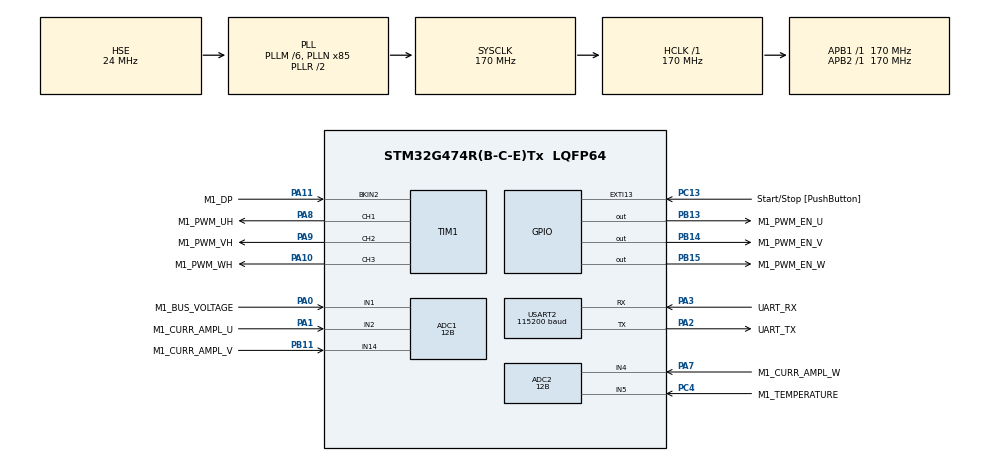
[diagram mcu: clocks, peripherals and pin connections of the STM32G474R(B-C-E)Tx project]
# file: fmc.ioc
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ADC1.Channel-1\#ChannelRegularConversion=ADC_CHANNEL_1
ADC1.ClockPrescaler=ADC_CLOCK_ASYNC_DIV1
ADC1.ContinuousConvMode=DISABLE
ADC1.DMAContinuousRequests=DISABLE
ADC1.DataAlign=ADC_DATAALIGN_LEFT
ADC1.DiscontinuousConvMode=DISABLE
ADC1.EOCSelection=ADC_EOC_SINGLE_CONV
ADC1.EnableAnalogWatchDog1=false
ADC1.EnableAnalogWatchDog2=false
ADC1.EnableAnalogWatchDog3=false
ADC1.EnableInjectedConversion=ENABLE
ADC1.EnableRegularConversion=ENABLE
ADC1.ExternalTrigConv=ADC_SOFTWARE_START
ADC1.ExternalTrigConvEdge=ADC_EXTERNALTRIGCONVEDGE_NONE
ADC1.ExternalTrigInjecConv=ADC_EXTERNALTRIGINJEC_T1_TRGO
ADC1.ExternalTrigInjecConvEdge=ADC_EXTERNALTRIGINJECCONV_EDGE_RISING
ADC1.InjNumberOfConversion=2
ADC1.InjectedChannel-1\#ChannelInjectedConversion=ADC_CHANNEL_2
ADC1.InjectedChannel-2\#ChannelInjectedConversion=ADC_CHANNEL_14
ADC1.InjectedConvMode=None
ADC1.InjectedOffset-1\#ChannelInjectedConversion=0
ADC1.InjectedOffset-2\#ChannelInjectedConversion=0
ADC1.InjectedOffsetNumber-1\#ChannelInjectedConversion=ADC_OFFSET_NONE
ADC1.InjectedOffsetNumber-2\#ChannelInjectedConversion=ADC_OFFSET_NONE
ADC1.InjectedRank-1\#ChannelInjectedConversion=1
ADC1.InjectedRank-2\#ChannelInjectedConversion=2
ADC1.InjectedSamplingTime-1\#ChannelInjectedConversion=ADC_SAMPLETIME_6CYCLES_5
ADC1.InjectedSamplingTime-2\#ChannelInjectedConversion=ADC_SAMPLETIME_6CYCLES_5
ADC1.LowPowerAutoWait=DISABLE
ADC1.NbrOfConversion=1
ADC1.NbrOfConversionFlag=1
ADC1.Offset-1\#ChannelRegularConversion=0
ADC1.OffsetNumber-1\#ChannelRegularConversion=ADC_OFFSET_NONE
ADC1.Overrun=ADC_OVR_DATA_PRESERVED
ADC1.Rank-1\#ChannelRegularConversion=1
ADC1.Resolution=ADC_RESOLUTION_12B
ADC1.SamplingTime-1\#ChannelRegularConversion=ADC_SAMPLETIME_47CYCLES_5
ADC1.ScanConvMode=ADC_SCAN_ENABLE
ADC1.master=1
ADC2.Channel-1\#ChannelRegularConversion=ADC_CHANNEL_5
ADC2.ClockPrescaler=ADC_CLOCK_ASYNC_DIV1
ADC2.ContinuousConvMode=DISABLE
ADC2.DMAContinuousRequests=DISABLE
ADC2.DataAlign=ADC_DATAALIGN_LEFT
ADC2.DiscontinuousConvMode=DISABLE
ADC2.EOCSelection=ADC_EOC_SINGLE_CONV
ADC2.EnableAnalogWatchDog1=false
ADC2.EnableAnalogWatchDog2=false
ADC2.EnableAnalogWatchDog3=false
ADC2.EnableInjectedConversion=ENABLE
ADC2.EnableRegularConversion=ENABLE
ADC2.ExternalTrigConv=ADC_SOFTWARE_START
ADC2.ExternalTrigConvEdge=ADC_EXTERNALTRIGCONVEDGE_NONE
ADC2.ExternalTrigInjecConv=ADC_EXTERNALTRIGINJEC_T1_TRGO
ADC2.ExternalTrigInjecConvEdge=ADC_EXTERNALTRIGINJECCONV_EDGE_RISING
ADC2.InjNumberOfConversion=2
ADC2.InjectedChannel-1\#ChannelInjectedConversion=ADC_CHANNEL_14
ADC2.InjectedChannel-2\#ChannelInjectedConversion=ADC_CHANNEL_4
ADC2.InjectedConvMode=None
ADC2.InjectedOffset-1\#ChannelInjectedConversion=0
ADC2.InjectedOffset-2\#ChannelInjectedConversion=0
ADC2.InjectedOffsetNumber-1\#ChannelInjectedConversion=ADC_OFFSET_NONE
ADC2.InjectedOffsetNumber-2\#ChannelInjectedConversion=ADC_OFFSET_NONE
ADC2.InjectedRank-1\#ChannelInjectedConversion=1
ADC2.InjectedRank-2\#ChannelInjectedConversion=2
ADC2.InjectedSamplingTime-1\#ChannelInjectedConversion=ADC_SAMPLETIME_6CYCLES_5
ADC2.InjectedSamplingTime-2\#ChannelInjectedConversion=ADC_SAMPLETIME_6CYCLES_5
ADC2.LowPowerAutoWait=DISABLE
ADC2.NbrOfConversion=1
ADC2.NbrOfConversionFlag=1
ADC2.Offset-1\#ChannelRegularConversion=0
ADC2.OffsetNumber-1\#ChannelRegularConversion=ADC_OFFSET_NONE
ADC2.Overrun=ADC_OVR_DATA_PRESERVED
ADC2.Rank-1\#ChannelRegularConversion=1
ADC2.Resolution=ADC_RESOLUTION_12B
ADC2.SamplingTime-1\#ChannelRegularConversion=ADC_SAMPLETIME_47CYCLES_5
ADC2.ScanConvMode=ADC_SCAN_ENABLE
ADC2.master=1
Dma.Request0=USART2_RX
Dma.Request1=USART2_TX
Dma.USART2_RX.0.Direction=DMA_PERIPH_TO_MEMORY
Dma.USART2_RX.0.EventEnable=DISABLE
Dma.USART2_RX.0.Instance=DMA1_Channel1
Dma.USART2_RX.0.MemDataAlignment=DMA_MDATAALIGN_BYTE
Dma.USART2_RX.0.MemInc=DMA_MINC_ENABLE
Dma.USART2_RX.0.Mode=DMA_NORMAL
Dma.USART2_RX.0.PeriphDataAlignment=DMA_PDATAALIGN_BYTE
Dma.USART2_RX.0.PeriphInc=DMA_PINC_DISABLE
Dma.USART2_RX.0.Polarity=HAL_DMAMUX_REQ_GEN_RISING
Dma.USART2_RX.0.Priority=DMA_PRIORITY_LOW
Dma.USART2_RX.0.RequestNumber=1
Dma.USART2_RX.0.SignalID=NONE
Dma.USART2_RX.0.SyncEnable=DISABLE
Dma.USART2_RX.0.SyncPolarity=HAL_DMAMUX_SYNC_NO_EVENT
Dma.USART2_RX.0.SyncRequestNumber=1
Dma.USART2_RX.0.SyncSignalID=NONE
Dma.USART2_TX.1.Direction=DMA_MEMORY_TO_PERIPH
Dma.USART2_TX.1.EventEnable=DISABLE
Dma.USART2_TX.1.Instance=DMA1_Channel2
Dma.USART2_TX.1.MemDataAlignment=DMA_MDATAALIGN_BYTE
Dma.USART2_TX.1.MemInc=DMA_MINC_ENABLE
Dma.USART2_TX.1.Mode=DMA_NORMAL
Dma.USART2_TX.1.PeriphDataAlignment=DMA_PDATAALIGN_BYTE
Dma.USART2_TX.1.PeriphInc=DMA_PINC_DISABLE
Dma.USART2_TX.1.Polarity=HAL_DMAMUX_REQ_GEN_RISING
Dma.USART2_TX.1.Priority=DMA_PRIORITY_LOW
Dma.USART2_TX.1.RequestNumber=1
Dma.USART2_TX.1.SignalID=NONE
Dma.USART2_TX.1.SyncEnable=DISABLE
Dma.USART2_TX.1.SyncPolarity=HAL_DMAMUX_SYNC_NO_EVENT
Dma.USART2_TX.1.SyncRequestNumber=1
Dma.USART2_TX.1.SyncSignalID=NONE
ExtraMW=MotorControl
ExtraMW.MotorControl.Config=MotorControl
ExtraMW.MotorControl.Mode=MotorControl
ExtraMW.MotorControl.Root=MCSDK_v6.4.1-Full/MotorControl
ExtraMW.MotorControl.Template=templates
Mcu.Family=STM32G4
Mcu.Name=STM32G474R(B-C-E)Tx
Mcu.Package=LQFP64
MotorControl.ADC_1_PERIPH=ADC1
MotorControl.ADC_2_PERIPH=ADC2
MotorControl.ADC_AHBPERIPH=RCC_AHBPeriph_ADC12
MotorControl.ADC_CLOCK_WB_DIV=1
MotorControl.ADC_PERIPH=ADC1
MotorControl.ADC_REFERENCE_VOLTAGE=3.3
MotorControl.BOARD=NUCLEO-G474RE
MotorControl.BUS_VOLTAGE_READING=true
MotorControl.CCMRAM_ENABLED=false
MotorControl.CLOCK_FREQUENCY=CPU_CLK_170_MHZ
MotorControl.CLOCK_SOURCE=EXTERNAL
MotorControl.CPU_CLK_170_MHZ=true
MotorControl.CTLBOARD_NAME=NUCLEO-G474RE
MotorControl.CUBE_MX_VER=6.16.1
MotorControl.CURRENT_READING_TOPOLOGY=THREE_SHUNT_INDEPENDENT_RESOURCES
MotorControl.CURR_SAMPLING_TIME=6
MotorControl.DBG_MCU_LOAD_MEASURE=false
MotorControl.DEBUG_DAC_FUNCTIONALITY_EN=false
MotorControl.DP_EMERGENCY_STOP_GPIO_PIN=LL_GPIO_PIN_11
MotorControl.DP_EMERGENCY_STOP_GPIO_PORT=GPIOA
MotorControl.DRIVES_NUMBER_SELECTION=SINGLEDRIVE
MotorControl.DRIVE_NUMBER=1
MotorControl.DRIVE_TYPE=FOC
MotorControl.ENCODER_AVAILABLE=false
MotorControl.ENCODER_PPR=400
MotorControl.EXT_CLK_24_MHZ=true
MotorControl.EXT_CLOCK_FREQUENCY=EXT_CLK_24_MHZ
MotorControl.FEEDBACK_NET_FILTERING=false
MotorControl.FLASH_SIZE=512
MotorControl.HALL_SENSORS_AVAILABLE=false
MotorControl.HIGH_SIDE_IDLE_STATE=false
MotorControl.HWV_CS=ThreeShunt_AmplifiedCurrents
MotorControl.HWV_DP=SingleErrorTrigger_FixedReference
MotorControl.HWV_PWM=DrivingHighSidesAndThreeEnables
MotorControl.HW_COMPLEMENTED_LOW_SIDE=true
MotorControl.HW_DEAD_TIME_NS=550
MotorControl.IPs=CORDIC,SYS,NVIC,RCC,MotorControl,TIM1,ADC1,ADC2,USART2,DMA
MotorControl.LOW_MEMORY_FOOTPRINT_REG=false
MotorControl.LOW_SIDE_IDLE_STATE=false
MotorControl.LOW_SIDE_SIGNALS_ENABLING=ES_GPIO
MotorControl.M1_AMPLIFICATION_GAIN=1.53
MotorControl.M1_ANGC={0,0,0,0,0,0,0,0}
MotorControl.M1_AUXILIARY_SPEED_SENSOR=NONE
MotorControl.M1_BEMF_CONSISTENCY_GAIN=64
MotorControl.M1_BEMF_CONSISTENCY_TOL=64
MotorControl.M1_BOARD_MAX_CURRENT=0.8
MotorControl.M1_BUS_VOLTAGE_READING=true
MotorControl.M1_COMMUTATION_STEP_TIME_BUF_SIZE=12
MotorControl.M1_CONSTANT1_D=108040
MotorControl.M1_CONSTANT1_Q=108040
MotorControl.M1_CONSTANT2_QD=21559
MotorControl.M1_CS_ADC_NUM=2
MotorControl.M1_CS_ADC_PHASE_SHARED=V
MotorControl.M1_CS_ADC_U=ADC1
MotorControl.M1_CS_ADC_W=ADC2
MotorControl.M1_CS_CHANNEL_SHARED=14
MotorControl.M1_CS_CHANNEL_U=2
MotorControl.M1_CS_CHANNEL_V=14
MotorControl.M1_CS_CHANNEL_W=4
MotorControl.M1_CURRENT_AMPLIFICATION_TOPO=EXTERNAL
MotorControl.M1_CURRENT_SENSING_TOPO=THREE_SHUNT
MotorControl.M1_CURR_SAMPLING_TIME=6
MotorControl.M1_DBG_OPEN_LOOP_ENABLE=false
MotorControl.M1_DC_CURRENT_RS_MEAS=0.8
MotorControl.M1_DEFAULT_CONTROL_MODE=STC_SPEED_MODE
MotorControl.M1_DEFAULT_FLUX_COMPONENT=0
MotorControl.M1_DEFAULT_TARGET_SPEED_RPM=566
MotorControl.M1_DEFAULT_TORQUE_COMPONENT=0
MotorControl.M1_DISCONTINUOUS_PWM=false
MotorControl.M1_DP_BKIN_FILTER=3
MotorControl.M1_DP_BKIN_MODE=EXT_MODE
MotorControl.M1_DP_BKIN_POLARITY=EMSTOP_ACTIVE_LOW
MotorControl.M1_DP_DESTINATION=TIM_BKIN2
MotorControl.M1_DP_TOPOLOGY=EXTERNAL
MotorControl.M1_DRIVE_TYPE=FOC
MotorControl.M1_ENABLE_SL_ALGO_FROM_PHASE=2
MotorControl.M1_ENCODER_PPR=400
MotorControl.M1_F1=16384
MotorControl.M1_F2=4096
MotorControl.M1_FEED_FORWARD_CURRENT_REG_ENABLING=false
MotorControl.M1_FLUX_WEAKENING_ENABLING=false
MotorControl.M1_FW_KIDIV=32768
MotorControl.M1_FW_KI_GAIN=5000
MotorControl.M1_FW_KPDIV=32768
MotorControl.M1_FW_KP_GAIN=3000
MotorControl.M1_FW_VOLTAGE_REF=985
MotorControl.M1_GAIN1=-20736
MotorControl.M1_GAIN2=17622
MotorControl.M1_HALL_PHASE_SHIFT=300
MotorControl.M1_HALL_SENSORS_PLACEMENT=DEGREES_120
MotorControl.M1_HIGH_SIDE_IDLE_STATE=false
MotorControl.M1_HW_DEAD_TIME_NS=550
MotorControl.M1_ICL_ENABLED=false
MotorControl.M1_ID_DEMAG=-0.8
MotorControl.M1_IQMAX=0.8
MotorControl.M1_LDLQ_RATIO=1.000
MotorControl.M1_LOW_SIDE_IDLE_STATE=false
MotorControl.M1_LOW_SIDE_SIGNALS_ENABLING=ES_GPIO
MotorControl.M1_LS=0.001058
MotorControl.M1_MAX_APPLICATION_SPEED=1572
MotorControl.M1_MAX_MODULATION_INDEX=100
MotorControl.M1_MIN_APPLICATION_SPEED=0
MotorControl.M1_MOTOR_MAX_SPEED_RPM=1572
MotorControl.M1_MOTOR_NAME=GimBal GBM2804H-100T
MotorControl.M1_MOTOR_RATED_FLUX=0.034739897
MotorControl.M1_MOTOR_VOLTAGE_CONSTANT=5.0
MotorControl.M1_MTPA_ENABLING=false
MotorControl.M1_NB_CONSECUTIVE_TESTS=2
MotorControl.M1_NOMINAL_BUS_VOLTAGE_V=13
MotorControl.M1_NOMINAL_CURRENT=0.8
MotorControl.M1_OBS_MINIMUM_SPEED_RPM=566
MotorControl.M1_OCP_TOPOLOGY=NONE
MotorControl.M1_OFST={0,0,0,0,0,0,0,0}
MotorControl.M1_ON_OVER_VOLTAGE=TURN_OFF_PWM
MotorControl.M1_OVERMODULATION=false
MotorControl.M1_OVP_THRESHOLD_HIGH=15
MotorControl.M1_OV_TEMPERATURE_HYSTERESIS_C=10
MotorControl.M1_OV_TEMPERATURE_PROT_ENABLING=true
MotorControl.M1_OV_TEMPERATURE_THRESHOLD_C=110
MotorControl.M1_OV_VOLTAGE_PROT_ENABLING=true
MotorControl.M1_OV_VOLTAGE_THRESHOLD_V=15
MotorControl.M1_PHASE1_DURATION=1000
MotorControl.M1_PHASE1_FINAL_CURRENT=0.8
MotorControl.M1_PHASE1_FINAL_SPEED_RPM=0
MotorControl.M1_PHASE2_DURATION=1258
MotorControl.M1_PHASE2_FINAL_CURRENT=0.8
MotorControl.M1_PHASE2_FINAL_SPEED_RPM=629
MotorControl.M1_PHASE3_DURATION=0
MotorControl.M1_PHASE3_FINAL_CURRENT=0.8
MotorControl.M1_PHASE3_FINAL_SPEED_RPM=629
MotorControl.M1_PHASE4_DURATION=0
MotorControl.M1_PHASE4_FINAL_CURRENT=0.8
MotorControl.M1_PHASE4_FINAL_SPEED_RPM=629
MotorControl.M1_PHASE5_DURATION=0
MotorControl.M1_PHASE5_FINAL_CURRENT=0.8
MotorControl.M1_PHASE5_FINAL_SPEED_RPM=629
MotorControl.M1_PID_FLUX_KD_DEFAULT=100
MotorControl.M1_PID_FLUX_KI_DEFAULT=2111
MotorControl.M1_PID_FLUX_KP_DEFAULT=3378
MotorControl.M1_PID_SPEED_KD_DEFAULT=0
MotorControl.M1_PID_SPEED_KI_DEFAULT=562
MotorControl.M1_PID_SPEED_KP_DEFAULT=2730
MotorControl.M1_PID_TORQUE_KD_DEFAULT=100
MotorControl.M1_PID_TORQUE_KI_DEFAULT=2111
MotorControl.M1_PID_TORQUE_KP_DEFAULT=3378
MotorControl.M1_PLL_KI_GAIN=16
MotorControl.M1_PLL_KP_GAIN=366
MotorControl.M1_POLE_PAIR_NUM=7
MotorControl.M1_POSITION_CTRL_ENABLING=false
MotorControl.M1_POTENTIOMETER_ENABLE=false
MotorControl.M1_POWERBOARD_NAME=X-NUCLEO-IHM16M1
MotorControl.M1_PWM_CHARGE_BOOT_CAP_DUTY_CYCLES=0.000
MotorControl.M1_PWM_CHARGE_BOOT_CAP_MS=10
MotorControl.M1_PWM_DRIVER_PN=STSPIN830
MotorControl.M1_PWM_FREQUENCY=16000
MotorControl.M1_PWM_TIMER_BRK_IRQ=TIM1_BRK_TIM15
MotorControl.M1_PWM_TIMER_SELECTION=PWM_TIM1
MotorControl.M1_PWM_TIMER_UP_IRQ=TIM1_UP_TIM16
MotorControl.M1_REGULATION_EXECUTION_RATE=1
MotorControl.M1_RS=5.29
MotorControl.M1_RSHUNT=0.33
MotorControl.M1_SEGDIV=0
MotorControl.M1_SHARED_SIGNAL_ENABLE=false
MotorControl.M1_SPD_DIFFERENTIAL_TERM_ENABLING=false
MotorControl.M1_SPEED_BAND_LOWER_LIMIT=15
MotorControl.M1_SPEED_BAND_UPPER_LIMIT=17
MotorControl.M1_SPEED_FEEDBACK_CHECK=true
MotorControl.M1_SPEED_LOOP_FREQUENCY_HZ=1000
MotorControl.M1_SPEED_SENSOR=STO_PLL
MotorControl.M1_SP_KDDIV=16
MotorControl.M1_SP_KIDIV=16384
MotorControl.M1_SP_KPDIV=256
MotorControl.M1_SS_MEAS_ERRORS_BEFORE_FAULTS=3
MotorControl.M1_STARTING_ANGLE_DEG=0
MotorControl.M1_STO_FIFO_DEPTH_01HZ=64
MotorControl.M1_STO_FIFO_DEPTH_DPP=64
MotorControl.M1_SW_DEADTIME_NS=525
MotorControl.M1_T0_C=25
MotorControl.M1_TEMPERATURE_READING=true
MotorControl.M1_TEMP_ADC_SAMPLING_TIME=47
MotorControl.M1_TEMP_FDBK_ADC=ADC2
MotorControl.M1_TEMP_FDBK_CHANNEL=ADC_CHANNEL_5
MotorControl.M1_TF_KDDIV=8192
MotorControl.M1_TF_KIDIV=2048
MotorControl.M1_TF_KPDIV=1024
MotorControl.M1_TNOISE_NS=500
MotorControl.M1_TRANSITION_DURATION=25
MotorControl.M1_TRISE_NS=500
MotorControl.M1_T_MAX=110
MotorControl.M1_UD_VOLTAGE_THRESHOLD_V=7
MotorControl.M1_USE_INTERNAL_OPAMP=false
MotorControl.M1_UV_VOLTAGE_PROT_ENABLING=true
MotorControl.M1_V0_V=0.579
MotorControl.M1_VARIANCE_THRESHOLD=0.25
MotorControl.M1_VBUS_ADC=ADC1
MotorControl.M1_VBUS_ADC_SAMPLING_TIME=47
MotorControl.M1_VBUS_CHANNEL=ADC_CHANNEL_1
MotorControl.M1_VBUS_PARTITIONING_FACTOR=0.0625
MotorControl.M1_dV_dT=0.027
MotorControl.MAX_READABLE_CURRENT=3.272
MotorControl.MCPA_OVER_UART_A_STREAM=10
MotorControl.MCP_ASPEP_OVER_UART=true
MotorControl.MCP_ASYNC_EN=true
MotorControl.MCP_ASYNC_OVER_ASPEP_EN=true
MotorControl.MCP_ASYNC_OVER_UART_A_EN=true
MotorControl.MCP_DMACH_RX_UART_A=1
MotorControl.MCP_DMACH_TX_UART_A=2
MotorControl.MCP_DMA_RX_UART_A=DMA1
MotorControl.MCP_DMA_TX_UART_A=DMA1
MotorControl.MCP_EN=true
MotorControl.MCP_IRQ_HANDLER_DMA_RX_UART_A=DMA1_Channel1_IRQHandler
MotorControl.MCP_IRQ_HANDLER_UART_A=USART2_IRQHandler
MotorControl.MCP_OVER_ASPEP_EN=true
MotorControl.MCP_OVER_STLNK_EN=false
MotorControl.MCP_OVER_UART_A_EN=true
MotorControl.MCP_OVER_UART_B_EN=false
MotorControl.MCP_RX_SYNC_PAYLOAD_MAX=256
MotorControl.MCP_TX_ASYNC_PAYLOAD_MAX_UART_A=2048
MotorControl.MCP_TX_SYNC_PAYLOAD_MAX=256
MotorControl.MCU=STM32G474RE
MotorControl.MCU_FAMILY=STM32G4
MotorControl.MCU_LINE=STM32G4x4
MotorControl.MCU_NAME=STM32G474R(B-C-E)Tx
MotorControl.MCU_PACKAGE=LQFP64
MotorControl.MCU_TYPE=STM32G474RE
MotorControl.MCU_USERNAME=STM32G474RETx
MotorControl.MC_WORKBENCH_VERSION=6.4.1
MotorControl.MOTOR_PROFILER=false
MotorControl.MOTOR_TYPE=PMSM
MotorControl.ON_OVER_VOLTAGE=TURN_OFF_PWM
MotorControl.OV_TEMPERATURE_PROT_ENABLING=true
MotorControl.OV_VOLTAGE_PROT_ENABLING=true
MotorControl.PHASE_UH_GPIO_PIN=LL_GPIO_PIN_8
MotorControl.PHASE_UH_GPIO_PORT=GPIOA
MotorControl.PHASE_UH_POLARITY=H_ACTIVE_HIGH
MotorControl.PHASE_UL_GPIO_PIN=LL_GPIO_PIN_13
MotorControl.PHASE_UL_GPIO_PORT=GPIOB
MotorControl.PHASE_UL_POLARITY=L_ACTIVE_HIGH
MotorControl.PHASE_U_CURR_ADC=ADC1
MotorControl.PHASE_U_CURR_CHANNEL=ADC_CHANNEL_2
MotorControl.PHASE_U_GPIO_PIN=LL_GPIO_PIN_1
MotorControl.PHASE_U_GPIO_PORT=GPIOA
MotorControl.PHASE_U_PWM_CHANNEL=TIM_Channel_1
MotorControl.PHASE_VH_GPIO_PIN=LL_GPIO_PIN_9
MotorControl.PHASE_VH_GPIO_PORT=GPIOA
MotorControl.PHASE_VH_POLARITY=H_ACTIVE_HIGH
MotorControl.PHASE_VL_GPIO_PIN=LL_GPIO_PIN_14
MotorControl.PHASE_VL_GPIO_PORT=GPIOB
MotorControl.PHASE_VL_POLARITY=L_ACTIVE_HIGH
MotorControl.PHASE_V_CURR_ADC=ADC1
MotorControl.PHASE_V_CURR_CHANNEL=ADC_CHANNEL_14
MotorControl.PHASE_V_GPIO_PIN=LL_GPIO_PIN_11
MotorControl.PHASE_V_GPIO_PORT=GPIOB
MotorControl.PHASE_V_PWM_CHANNEL=TIM_Channel_2
MotorControl.PHASE_V_S_CURR_ADC=ADC2
MotorControl.PHASE_V_S_CURR_CHANNEL=ADC_CHANNEL_14
MotorControl.PHASE_V_S_GPIO_PIN=LL_GPIO_PIN_11
MotorControl.PHASE_V_S_GPIO_PORT=GPIOB
MotorControl.PHASE_WH_GPIO_PIN=LL_GPIO_PIN_10
MotorControl.PHASE_WH_GPIO_PORT=GPIOA
MotorControl.PHASE_WH_POLARITY=H_ACTIVE_HIGH
MotorControl.PHASE_WL_GPIO_PIN=LL_GPIO_PIN_15
MotorControl.PHASE_WL_GPIO_PORT=GPIOB
MotorControl.PHASE_WL_POLARITY=L_ACTIVE_HIGH
MotorControl.PHASE_W_CURR_ADC=ADC2
MotorControl.PHASE_W_CURR_CHANNEL=ADC_CHANNEL_4
MotorControl.PHASE_W_GPIO_PIN=LL_GPIO_PIN_7
MotorControl.PHASE_W_GPIO_PORT=GPIOA
MotorControl.PHASE_W_PWM_CHANNEL=TIM_Channel_3
MotorControl.POTENTIOMETER_READING=false
MotorControl.PWM_FREQUENCY=16000
MotorControl.PWM_TIMER_SELECTION=PWM_TIM1
MotorControl.REGULATION_EXECUTION_RATE=1
MotorControl.RTOS=NONE
MotorControl.R_BRAKE_SWITCH_OFF_THRES_V=12
MotorControl.SINGLEDRIVE=true
MotorControl.SPD_DIFFERENTIAL_TERM_ENABLING=false
MotorControl.SPEED_SENSOR_SELECTION=STATE_OBSERVER_PLL
MotorControl.START_STOP_BTN=true
MotorControl.START_STOP_GPIO_IRQ=EXTI15_10
MotorControl.START_STOP_GPIO_PIN=LL_GPIO_PIN_13
MotorControl.START_STOP_GPIO_PORT=GPIOC
MotorControl.START_STOP_POLARITY=DIN_ACTIVE_LOW
MotorControl.START_STOP_POLARITY_EDGE=GPIO_NOPULL
MotorControl.STATE_OBSERVER_PLL=true
MotorControl.STM32G474RE=true
MotorControl.SW_DEADTIME_NS=525
MotorControl.TEMPERATURE_READING=true
MotorControl.TEMP_ADC_SAMPLING_TIME=47
MotorControl.TEMP_FDBK_ADC=ADC2
MotorControl.TEMP_FDBK_CHANNEL=ADC_CHANNEL_5
MotorControl.TEMP_FDBK_GPIO_PIN=LL_GPIO_PIN_4
MotorControl.TEMP_FDBK_GPIO_PORT=GPIOC
MotorControl.TFDIFFERENTIAL_TERM_ENABLING=false
MotorControl.THREE_SHUNT_INDEPENDENT_RESOURCES=true
MotorControl.TRISE_NS=500
MotorControl.USART_RX_GPIO_PIN=LL_GPIO_PIN_3
MotorControl.USART_RX_GPIO_PORT=GPIOA
MotorControl.USART_SELECTION=USE_USART2
MotorControl.USART_SELECTION_A=USART2
MotorControl.USART_SPEED=1843200
MotorControl.USART_TX_GPIO_PIN=LL_GPIO_PIN_2
MotorControl.USART_TX_GPIO_PORT=GPIOA
MotorControl.USE_3OPAMPS=false
MotorControl.USE_INTERNAL_OPAMP=false
MotorControl.UV_VOLTAGE_PROT_ENABLING=true
MotorControl.VBUS_ADC=ADC1
MotorControl.VBUS_ADC_SAMPLING_TIME=47
MotorControl.VBUS_CHANNEL=ADC_CHANNEL_1
MotorControl.VBUS_GPIO_PIN=LL_GPIO_PIN_0
MotorControl.VBUS_GPIO_PORT=GPIOA
MotorControl.WB_MX_HEAPSIZE=0x200
MotorControl.WB_MX_STACKSIZE=0x400
MotorControl.WB_MX_TRUSTZONE_AVAILABLE=false
MotorControl.WB_UI_CUTOFF_FREQUENCY=6000
MotorControl.WB_UI_DP_DISABLING_ENABLE=false
MotorControl.WB_UI_ENCODER_HAS_INDEX_PIN=false
MotorControl.WB_UI_FLUX_TARGET=0
MotorControl.WB_UI_FRICTION=0.937
MotorControl.WB_UI_INERTIA=0.291
MotorControl.WB_UI_MAGNETIC_STRUCTURE=SM-PMSM
MotorControl.WB_UI_MAX_CURRENT=0.8
MotorControl.WB_UI_MAX_NOMINAL_DC_VOLTAGE=13
MotorControl.WB_UI_MAX_PWMFREQUENCY=100000
MotorControl.WB_UI_MOTOR_DESCRIPTION=iPower GBM2804H-100T Brushless Gimbal Motor
MotorControl.WB_UI_PW_BOARD_MAX_RATED_CURRENT=2.12
MotorControl.WB_UI_PW_BOARD_MAX_VOLTAGE=45
MotorControl.WB_UI_PW_BOARD_MIN_VOLTAGE=7
MotorControl.WB_UI_VPOL=1.559
MotorControl.WB_to_Mx_template_version=25-05-06
MotorControl.WB_to_Mx_version=6.4.1-RC1-Full
NVIC.ADC1_2_IRQn=true\:2\:0\:true\:true\:false\:5\:true\:true\:true
NVIC.DMA1_Channel1_IRQn=true\:3\:0\:true\:true\:false\:2\:true\:true\:true
NVIC.EXTI15_10_IRQn=true\:3\:0\:false\:true\:false\:6\:true\:true\:true
NVIC.PriorityGroup=NVIC_PRIORITYGROUP_3
NVIC.TIM1_BRK_TIM15_IRQn=true\:4\:1\:true\:true\:false\:3\:true\:true\:true
NVIC.TIM1_UP_TIM16_IRQn=true\:0\:0\:false\:true\:false\:4\:true\:true\:true
NVIC.USART2_IRQn=true\:3\:1\:true\:true\:false\:1\:true\:true\:true
PA0.GPIO_Label=M1_BUS_VOLTAGE
PA0.Mode=IN1-Single-Ended
PA0.Signal=ADC1_IN1
PA1.GPIO_Label=M1_CURR_AMPL_U
PA1.Mode=IN2-Single-Ended
PA1.Signal=ADC1_IN2
PA10.GPIO_Label=M1_PWM_WH
PA10.GPIO_PuPd=GPIO_PULLDOWN
PA10.GPIO_Speed=GPIO_SPEED_FREQ_HIGH
PA10.Signal=S_TIM1_CH3
PA11.GPIO_Label=M1_DP
PA11.GPIO_PuPd=GPIO_PULLUP
PA11.Mode=Activate-Break-Input-2
PA11.Signal=TIM1_BKIN2
PA13.GPIO_Label=TMS
PA13.Mode=Serial_Wire
PA13.Signal=SYS_JTMS-SWDIO
PA14.GPIO_Label=TCK
PA14.Mode=Serial_Wire
PA14.Signal=SYS_JTCK-SWCLK
PA2.GPIO_Label=UART_TX
PA2.GPIO_Mode=GPIO_MODE_AF_PP
PA2.GPIO_PuPd=GPIO_NOPULL
PA2.GPIO_Speed=GPIO_SPEED_FREQ_LOW
PA2.Mode=Asynchronous
PA2.Signal=USART2_TX
PA3.GPIO_Label=UART_RX
PA3.GPIO_Mode=GPIO_MODE_AF_PP
PA3.GPIO_PuPd=GPIO_NOPULL
PA3.GPIO_Speed=GPIO_SPEED_FREQ_LOW
PA3.Mode=Asynchronous
PA3.Signal=USART2_RX
PA7.GPIO_Label=M1_CURR_AMPL_W
PA7.Mode=IN4-Single-Ended
PA7.Signal=ADC2_IN4
PA8.GPIO_Label=M1_PWM_UH
PA8.GPIO_PuPd=GPIO_PULLDOWN
PA8.GPIO_Speed=GPIO_SPEED_FREQ_HIGH
PA8.Signal=S_TIM1_CH1
PA9.GPIO_Label=M1_PWM_VH
PA9.GPIO_PuPd=GPIO_PULLDOWN
PA9.GPIO_Speed=GPIO_SPEED_FREQ_HIGH
PA9.Signal=S_TIM1_CH2
PB11.GPIO_Label=M1_CURR_AMPL_V
PB11.Signal=SharedAnalog_PB11
PB13.GPIO_Label=M1_PWM_EN_U
PB13.GPIO_PuPd=GPIO_PULLDOWN
PB13.GPIO_Speed=GPIO_SPEED_FREQ_HIGH
PB13.Signal=GPIO_Output
PB14.GPIO_Label=M1_PWM_EN_V
PB14.GPIO_PuPd=GPIO_PULLDOWN
PB14.GPIO_Speed=GPIO_SPEED_FREQ_HIGH
PB14.Signal=GPIO_Output
PB15.GPIO_Label=M1_PWM_EN_W
PB15.GPIO_PuPd=GPIO_PULLDOWN
PB15.GPIO_Speed=GPIO_SPEED_FREQ_HIGH
PB15.Signal=GPIO_Output
PC13.GPIO_Label=Start/Stop [PushButton]
PC13.GPIO_ModeDefaultEXTI=GPIO_MODE_IT_FALLING
PC13.GPIO_PuPd=GPIO_NOPULL
PC13.Signal=GPXTI13
PC4.GPIO_Label=M1_TEMPERATURE
PC4.Mode=IN5-Single-Ended
PC4.Signal=ADC2_IN5
PF0-OSC_IN.Mode=HSE-External-Oscillator
PF0-OSC_IN.Signal=RCC_OSC_IN
PF1-OSC_OUT.Mode=HSE-External-Oscillator
PF1-OSC_OUT.Signal=RCC_OSC_OUT
ProjectManager.HeapSize=0x200
ProjectManager.StackSize=0x400
ProjectManager.TargetToolchain=STM32CubeIDE
RCC.ADC12CLockSelection=RCC_ADC12CLKSOURCE_PLL
RCC.ADC12Freq_Value=42500000
RCC.ADC345CLockSelection=RCC_ADC345CLKSOURCE_PLL
RCC.ADC345Freq_Value=42500000
RCC.AHBFreq_Value=170000000
RCC.APB1Freq_Value=170000000
RCC.APB1TimFreq_Value=170000000
RCC.APB2Freq_Value=170000000
RCC.APB2TimFreq_Value=170000000
RCC.CK48CLockSelection=RCC_USBCLKSOURCE_PLL
RCC.CortexFreq_Value=170000000
RCC.EXTERNAL_CLOCK_VALUE=12288000
RCC.EnbaleCSS=true
RCC.HCLKFreq_Value=170000000
RCC.HSE_VALUE=24000000
RCC.HSI48_VALUE=48000000
RCC.HSI_VALUE=16000000
RCC.LSE_VALUE=32768
RCC.PLLM=RCC_PLLM_DIV6
RCC.PLLN=85
RCC.PLLP=RCC_PLLP_DIV8
RCC.PLLSourceVirtual=RCC_PLLSOURCE_HSE
RCC.PREFETCH_ENABLE=1
RCC.SYSCLKFreq_VALUE=170000000
RCC.SYSCLKSource=RCC_SYSCLKSOURCE_PLLCLK
RCC.USBFreq_Value=170000000
RCC.VCOOutputFreq_Value=340000000
SH.S_TIM1_CH1.0=TIM1_CH1,PWM Generation1 CH1
SH.S_TIM1_CH2.0=TIM1_CH2,PWM Generation2 CH2
SH.S_TIM1_CH3.0=TIM1_CH3,PWM Generation3 CH3
SH.SharedAnalog_PB11.0=ADC1_IN14,IN14-Single-Ended
SH.SharedAnalog_PB11.1=ADC2_IN14,IN14-Single-Ended
TIM1.AutoReloadPreload=TIM_AUTORELOAD_PRELOAD_DISABLE
TIM1.AutomaticOutput=TIM_AUTOMATICOUTPUT_DISABLE
TIM1.Break2Filter=3
TIM1.Break2Polarity=TIM_BREAK2POLARITY_HIGH
TIM1.Break2State=TIM_BREAK2_ENABLE
TIM1.BreakFilter=0
TIM1.BreakPolarity=TIM_BREAKPOLARITY_HIGH
TIM1.BreakState=TIM_BREAK_DISABLE
TIM1.Channel=TIM_CHANNEL_4
TIM1.Channel-PWM\ Generation1\ CH1=TIM_CHANNEL_1
TIM1.Channel-PWM\ Generation2\ CH2=TIM_CHANNEL_2
TIM1.Channel-PWM\ Generation3\ CH3=TIM_CHANNEL_3
TIM1.Channel-PWM\ Generation4\ No\ Output=TIM_CHANNEL_4
TIM1.ClearInputSource=TIM_CLEARINPUTSOURCE_NONE
TIM1.ClockDivision=TIM_CLOCKDIVISION_DIV2
TIM1.CounterMode=TIM_COUNTERMODE_CENTERALIGNED1
TIM1.LockLevel=TIM_LOCKLEVEL_OFF
TIM1.OC1Preload_PWM=ENABLE
TIM1.OC2Preload_PWM=ENABLE
TIM1.OC3Preload_PWM=ENABLE
TIM1.OC4Preload_PWM=ENABLE
TIM1.OCFastMode_PWM=TIM_OCFAST_DISABLE
TIM1.OCIdleState_1=TIM_OCIDLESTATE_RESET
TIM1.OCIdleState_2=TIM_OCIDLESTATE_RESET
TIM1.OCIdleState_3=TIM_OCIDLESTATE_RESET
TIM1.OCIdleState_4=TIM_OCIDLESTATE_RESET
TIM1.OCMode_PWM-PWM\ Generation1\ CH1=TIM_OCMODE_PWM1
TIM1.OCMode_PWM-PWM\ Generation2\ CH2=TIM_OCMODE_PWM1
TIM1.OCMode_PWM-PWM\ Generation3\ CH3=TIM_OCMODE_PWM1
TIM1.OCMode_PWM-PWM\ Generation4\ No\ Output=TIM_OCMODE_PWM2
TIM1.OCPolarity_1=TIM_OCPOLARITY_HIGH
TIM1.OCPolarity_2=TIM_OCPOLARITY_HIGH
TIM1.OCPolarity_3=TIM_OCPOLARITY_HIGH
TIM1.OCPolarity_4=TIM_OCPOLARITY_HIGH
TIM1.OffStateIDLEMode=TIM_OSSI_ENABLE
TIM1.OffStateRunMode=TIM_OSSR_ENABLE
TIM1.PeriodNoDither=((PWM_PERIOD_CYCLES) / 2)
TIM1.Prescaler=((TIM_CLOCK_DIVIDER) - 1)
TIM1.PulseNoDither_1=((PWM_PERIOD_CYCLES) / 4)
TIM1.PulseNoDither_2=((PWM_PERIOD_CYCLES) / 4)
TIM1.PulseNoDither_3=((PWM_PERIOD_CYCLES) / 4)
TIM1.PulseNoDither_4=(((PWM_PERIOD_CYCLES) / 2) - (HTMIN))
TIM1.RepetitionCounter=(REP_COUNTER)
TIM1.SourceBRK2DigInput=TIM_BREAKINPUTSOURCE_ENABLE
TIM1.SourceBRK2DigInputPolarity=TIM_BREAKINPUTSOURCE_POLARITY_LOW
TIM1.SourceBRKDigInput=TIM_BREAKINPUTSOURCE_DISABLE
TIM1.TIM_MasterOutputTrigger=TIM_TRGO_OC4REF
TIM1.TIM_MasterOutputTrigger2=TIM_TRGO2_RESET
TIM1.TIM_MasterSlaveMode=TIM_MASTERSLAVEMODE_DISABLE
TIM1.TIM_SlaveMode=TIM_SLAVEMODE_TRIGGER
TIM6.AutoReloadPreload=TIM_AUTORELOAD_PRELOAD_ENABLE
TIM6.Dithering=Disable
TIM6.PeriodNoDither=8499
TIM6.TIM_MasterOutputTrigger=TIM_TRGO_UPDATE
USART2.BaudRate=115200
USART2.VirtualMode-Asynchronous=VM_ASYNC
USART2.WordLength=WORDLENGTH_8B
VP_CORDIC_VS_CORDIC.Mode=CORDIC_Activate
VP_FMAC_VS_FMAC.Mode=FMAC_Activate
VP_MotorControl_MC_ENABLED.Mode=Enabled
VP_SYS_VS_DBSignals.Mode=DisableDeadBatterySignals
VP_TIM1_VS_no_output4.Mode=PWM Generation4 No Output
VP_TIM6_VS_ClockSourceINT.Mode=Enable_Timer
board=custom

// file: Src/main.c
/* USER CODE BEGIN Header */
/**
  ******************************************************************************
  * @file           : main.c
  * @brief          : Main program body
  ******************************************************************************
  * @attention
  *
  * Copyright (c) 2026 STMicroelectronics.
  * All rights reserved.
  *
  * This software is licensed under terms that can be found in the LICENSE file
  * in the root directory of this software component.
  * If no LICENSE file comes with this software, it is provided AS-IS.
  *
  ******************************************************************************
  */
/* USER CODE END Header */
#include "main.h"
#include "adc.h"
#include "cordic.h"
#include "dma.h"
#include "fmac.h"
#include "tim.h"
#include "usart.h"
#include "gpio.h"

/* USER CODE BEGIN Includes */
#include "fmac_rt.h"
#include "cli.h"
#include "stm32g4xx_ll_usart.h"
#include "stm32g4xx_ll_dma.h"
/* USER CODE END Includes */

void SystemClock_Config(void);
static void MX_NVIC_Init(void);

int main(void)
{

  /* MCU Configuration--------------------------------------------------------*/

  /* Reset of all peripherals, Initializes the Flash interface and the Systick. */
  HAL_Init();

  /* Configure the system clock */
  SystemClock_Config();

  /* Initialize all configured peripherals */
  MX_GPIO_Init();
  MX_DMA_Init();
  MX_ADC1_Init();
  MX_ADC2_Init();
  MX_CORDIC_Init();
  MX_TIM1_Init();
  MX_USART2_UART_Init();
  MX_MotorControl_Init();
  MX_FMAC_Init();
  MX_TIM6_Init();

  /* Initialize interrupts */
  MX_NVIC_Init();
  /* USER CODE BEGIN 2 */

  /*── Fully detach USART2 from the MCSDK ASPEP / DMA path ──────────────
   *
   * MX_MotorControl_Init() → ASPEP_start() enables DMA requests (DMAR,
   * DMAT), DMA channels, and several USART interrupts for the ASPEP
   * protocol.  We must undo ALL of them before entering CLI polling mode,
   * otherwise the ASPEP state-machine (still ticked by SysTick /
   * TIM1_BRK) can fire spurious DMA transmissions whose bytes appear
   * as garbled output on the serial terminal.
   */

  /* 1. Disable DMA requests so USART2 stops feeding/draining DMA. */
  LL_USART_DisableDMAReq_RX(USART2);
  LL_USART_DisableDMAReq_TX(USART2);

  /* 2. Disable the DMA channels that ASPEP_start() enabled. */
  LL_DMA_DisableChannel(DMA1, LL_DMA_CHANNEL_1);   /* USART2_RX */
  LL_DMA_DisableChannel(DMA1, LL_DMA_CHANNEL_2);   /* USART2_TX */

  /* 3. Disable all USART2 interrupt sources used by ASPEP. */
  LL_USART_DisableIT_TC(USART2);
  LL_USART_DisableIT_IDLE(USART2);
  LL_USART_DisableIT_ERROR(USART2);
  HAL_NVIC_DisableIRQ(USART2_IRQn);

  /* 4. Clear every pending USART2 flag (ORE, FE, NE, IDLE, TC …)
   *    and flush any stale byte out of RDR so the first real received
   *    byte is clean. */
  USART2->ICR = USART_ICR_PECF  | USART_ICR_FECF | USART_ICR_NECF
              | USART_ICR_ORECF | USART_ICR_IDLECF | USART_ICR_TCCF
              | USART_ICR_CMCF;
  (void)USART2->RDR;   /* read-and-discard clears RXNE */
  fmac_rt_init();
  cli_init();
  /* USER CODE END 2 */

  /* Infinite loop */
  while (1)
  {

    /* USER CODE BEGIN 3 */
	    if (USART2->ISR & USART_ISR_RXNE_RXFNE) {
	        uint8_t b = (uint8_t)(USART2->RDR & 0xFF);
	        while (!(USART2->ISR & USART_ISR_TXE_TXFNF)) {}
	        USART2->TDR = b;
	        cli_on_rx_byte(b);
	    }
	    cli_poll();
  }
  /* USER CODE END 3 */
}

void SystemClock_Config(void)
{
  RCC_OscInitTypeDef RCC_OscInitStruct = {0};
  RCC_ClkInitTypeDef RCC_ClkInitStruct = {0};

  /** Configure the main internal regulator output voltage
  */
  HAL_PWREx_ControlVoltageScaling(PWR_REGULATOR_VOLTAGE_SCALE1_BOOST);

  /** Initializes the RCC Oscillators according to the specified parameters
  * in the RCC_OscInitTypeDef structure.
  */
  RCC_OscInitStruct.OscillatorType = RCC_OSCILLATORTYPE_HSE;
  RCC_OscInitStruct.HSEState = RCC_HSE_ON;
  RCC_OscInitStruct.PLL.PLLState = RCC_PLL_ON;
  RCC_OscInitStruct.PLL.PLLSource = RCC_PLLSOURCE_HSE;
  RCC_OscInitStruct.PLL.PLLM = RCC_PLLM_DIV6;
  RCC_OscInitStruct.PLL.PLLN = 85;
  RCC_OscInitStruct.PLL.PLLP = RCC_PLLP_DIV8;
  RCC_OscInitStruct.PLL.PLLQ = RCC_PLLQ_DIV2;
  RCC_OscInitStruct.PLL.PLLR = RCC_PLLR_DIV2;
  if (HAL_RCC_OscConfig(&RCC_OscInitStruct) != HAL_OK)
  {
    Error_Handler();
  }

  /** Initializes the CPU, AHB and APB buses clocks
  */
  RCC_ClkInitStruct.ClockType = RCC_CLOCKTYPE_HCLK|RCC_CLOCKTYPE_SYSCLK
                              |RCC_CLOCKTYPE_PCLK1|RCC_CLOCKTYPE_PCLK2;
  RCC_ClkInitStruct.SYSCLKSource = RCC_SYSCLKSOURCE_PLLCLK;
  RCC_ClkInitStruct.AHBCLKDivider = RCC_SYSCLK_DIV1;
  RCC_ClkInitStruct.APB1CLKDivider = RCC_HCLK_DIV1;
  RCC_ClkInitStruct.APB2CLKDivider = RCC_HCLK_DIV1;

  if (HAL_RCC_ClockConfig(&RCC_ClkInitStruct, FLASH_LATENCY_4) != HAL_OK)
  {
    Error_Handler();
  }

  /** Enables the Clock Security System
  */
  HAL_RCC_EnableCSS();
}

/**
  * @brief NVIC Configuration.
  * @retval None
  */
static void MX_NVIC_Init(void)
{
  /* USART2_IRQn interrupt configuration */
  HAL_NVIC_SetPriority(USART2_IRQn, 3, 1);
  HAL_NVIC_EnableIRQ(USART2_IRQn);
  /* DMA1_Channel1_IRQn interrupt configuration */
  HAL_NVIC_SetPriority(DMA1_Channel1_IRQn, 3, 0);
  HAL_NVIC_EnableIRQ(DMA1_Channel1_IRQn);
  /* TIM1_BRK_TIM15_IRQn interrupt configuration */
  HAL_NVIC_SetPriority(TIM1_BRK_TIM15_IRQn, 4, 1);
  HAL_NVIC_EnableIRQ(TIM1_BRK_TIM15_IRQn);
  /* TIM1_UP_TIM16_IRQn interrupt configuration */
  HAL_NVIC_SetPriority(TIM1_UP_TIM16_IRQn, 0, 0);
  HAL_NVIC_EnableIRQ(TIM1_UP_TIM16_IRQn);
  /* ADC1_2_IRQn interrupt configuration */
  HAL_NVIC_SetPriority(ADC1_2_IRQn, 2, 0);
  HAL_NVIC_EnableIRQ(ADC1_2_IRQn);
  /* EXTI15_10_IRQn interrupt configuration */
  HAL_NVIC_SetPriority(EXTI15_10_IRQn, 3, 0);
  HAL_NVIC_EnableIRQ(EXTI15_10_IRQn);
}

void Error_Handler(void)
{
  __disable_irq();
  while (1)
  {
  }
}
